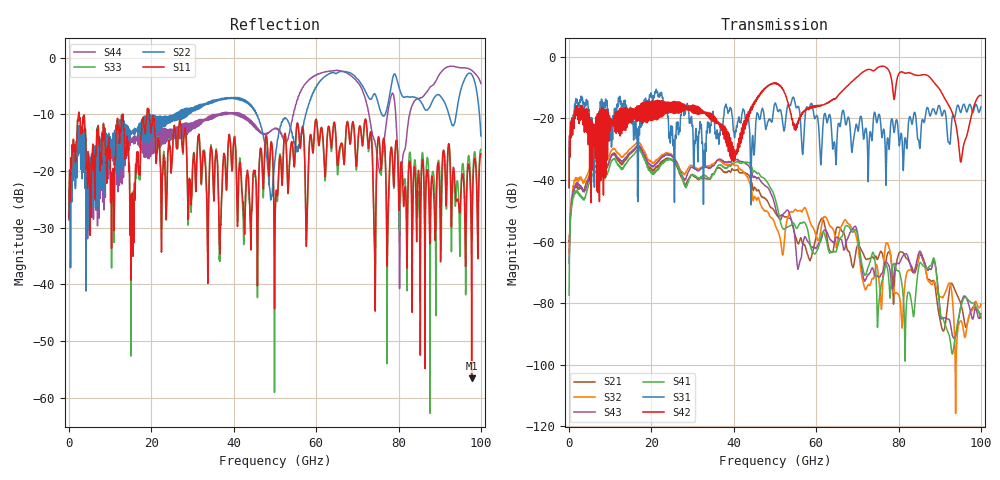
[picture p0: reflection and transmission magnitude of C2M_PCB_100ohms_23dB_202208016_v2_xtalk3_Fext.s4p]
! Info: Touchstone file created by Circ.  Input file=Intel_C2M_200G_9p0in_202208016_staggered.circ
# Hz S RI R 50
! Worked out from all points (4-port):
!   10000 points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, 10 MHz to 100 GHz, reference 50 ohm
!   strongest paths, dB at 10 MHz, 25.01 GHz, 50.01 GHz, 75.01 GHz, 100 GHz:
!     S42: -42.4, -14.9, -8.5, -3.4, -12.6
!     S31: -42.5, -23.0, -15.1, -19.7, -16.2
!     S41: -77.4, -33.3, -45.9, -83.9, -84.3
!     S43: -67.0, -32.2, -48.3, -71.2, -83.3
!     S32: -64.0, -32.0, -54.4, -69.7, -80.3
!     S21: -59.6, -33.4, -50.5, -65.4, -84.8
!   lowest |S11| = -56.6 dB at 97.76 GHz (marker M1), VSWR 1.00, Z = 50.1 - j0.0534 ohm
!   |S11| at or under -10 dB: 2.428 GHz to 13.02 GHz (10.59 GHz wide, 137 % of centre); 13.07 GHz to 18.91 GHz (5.847 GHz wide, 36.6 % of centre); 19.42 GHz to end of sweep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
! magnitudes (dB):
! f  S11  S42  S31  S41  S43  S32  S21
! 10 MHz  -28.3  -42.4  -42.5  -77.4  -67.0  -64.0  -59.6
! 1.42 GHz  -16.2  -18.9  -15.7  -44.5  -42.5  -40.4  -42.6
! 16.91 GHz  -20.5  -19.1  -24.0  -30.2  -28.9  -27.9  -29.3
! 66.23 GHz  -15.2  -11.2  -18.6  -58.4  -59.7  -54.8  -56.6
! 80.37 GHz  -21.7  -5.1  -26.9  -70.5  -66.5  -78.9  -63.3
! 97.76 GHz  -56.6  -18.7  -17.0  -79.9  -84.4  -82.5  -81.9
! 100 GHz  -16.9  -12.6  -16.2  -84.3  -83.3  -80.3  -84.8
